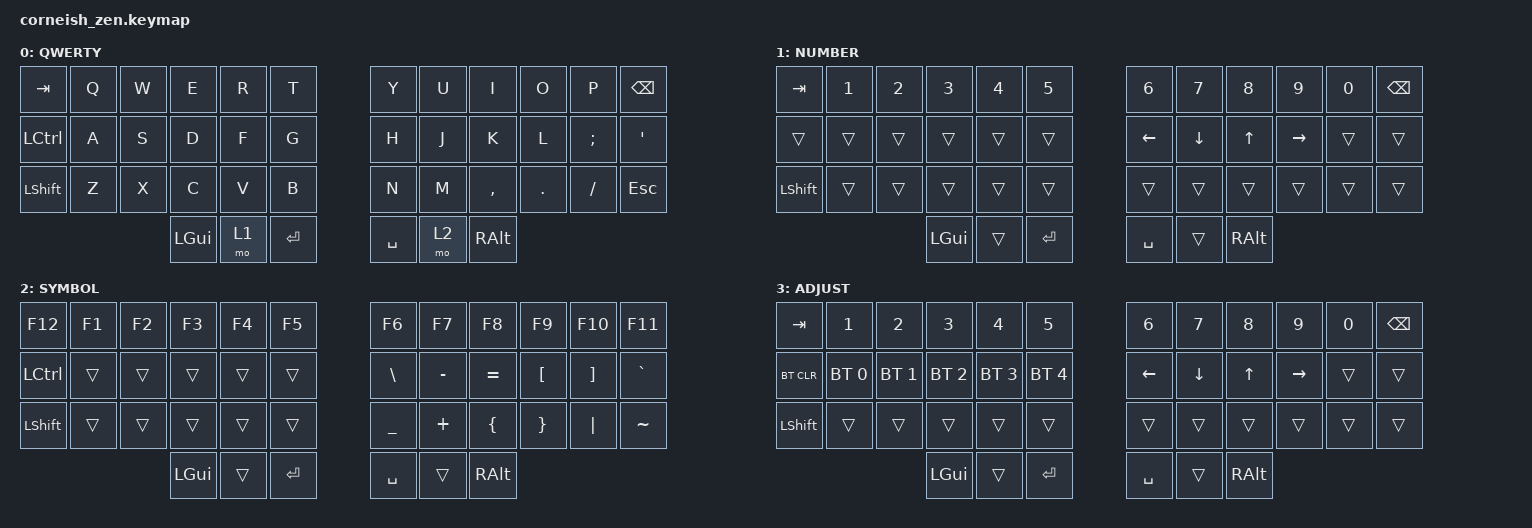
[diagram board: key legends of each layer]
#include <behaviors.dtsi>
#include <dt-bindings/zmk/keys.h>
#include <dt-bindings/zmk/bt.h>

/ {
  chosen {
    zmk,matrix_transform = &default_transform;
    //zmk,matrix_transform = &five_column_transform;
  };
};

/ {
    conditional_layers {
        compatible = "zmk,conditional-layers";
        tri_layer {
            if-layers = <1 2>;
            then-layer = <3>;
        };
    };
};

/ {
        keymap {
                compatible = "zmk,keymap";

                default_layer {
                        label = "QWERTY";
// -----------------------------------------------------------------------------------------
// |  TAB |  Q  |  W  |  E  |  R  |  T  |   |  Y  |  U   |  I  |  O  |  P  | BKSP |
// | CTRL |  A  |  S  |  D  |  F  |  G  |   |  H  |  J   |  K  |  L  |  ;  |  '   |
// | SHFT |  Z  |  X  |  C  |  V  |  B  |   |  N  |  M   |  ,  |  .  |  /  | ESC  |
//                    | GUI | LWR | ENT |   | SPC | RSE  | ALT |
                        bindings = <
   &kp TAB   &kp Q &kp W &kp E &kp R &kp T   &kp Y &kp U  &kp I     &kp O   &kp P    &kp BSPC
   &kp LCTRL &kp A &kp S &kp D &kp F &kp G   &kp H &kp J  &kp K     &kp L   &kp SEMI &kp SQT
   &kp LSHFT &kp Z &kp X &kp C &kp V &kp B   &kp N &kp M  &kp COMMA &kp DOT &kp FSLH &kp ESC
                  &kp LGUI &mo 1 &kp RET     &kp SPACE &mo 2 &kp RALT
                        >;
                };
                lower_layer {
                        label = "NUMBER";
// -----------------------------------------------------------------------------------------
// |  TAB |  1  |  2  |  3  |  4  |  5  |   |  6  |  7  |  8  |  9  |  0  | BKSP |
// |      |     |     |     |     |     |   | LFT | DWN |  UP | RGT |     |      |
// | SHFT |     |     |     |     |     |   |     |     |     |     |     |      |
//                    | GUI |     | ENT |   | SPC |     | ALT |
                        bindings = <
   &kp TAB   &kp N1 &kp N2 &kp N3   &kp N4 &kp N5    &kp N6   &kp N7   &kp N8 &kp N9    &kp N0 &kp BSPC
   &trans    &trans &trans &trans   &trans &trans    &kp LEFT &kp DOWN &kp UP &kp RIGHT &trans &trans
   &kp LSHFT &trans &trans &trans   &trans &trans    &trans   &trans   &trans &trans    &trans &trans
                           &kp LGUI &trans &kp RET   &kp SPACE  &trans   &kp RALT
                        >;
                };
                raise_layer {
                        label = "SYMBOL";
// -----------------------------------------------------------------------------------------
// |  F12 |  F1 |  F2 |  F3 |  F4 |  F5 |   |  F6 |  F7 |  F8 |  F9 | F10 | F12 |
// | CTRL |     |     |     |     |     |   |  \  |  -  |  =  |  [  |  ]  |  `  |
// | SHFT |     |     |     |     |     |   |  _  |  +  |  {  |  }  | "|" |  ~  |
//                    | GUI |     | ENT |   | SPC |     | ALT |
                        bindings = <
   &kp  F12  &kp F1   &kp F2 &kp F3   &kp F4   &kp F5      &kp F6    &kp F7    &kp F8    &kp F9   &kp F10   &kp F11
   &kp LCTRL &trans   &trans &trans   &trans   &trans      &kp BSLH  &kp MINUS &kp EQUAL &kp LBKT &kp RBKT  &kp GRAVE
   &kp LSHFT &trans   &trans &trans   &trans   &trans      &kp UNDER &kp PLUS  &kp LBRC  &kp RBRC &kp PIPE  &kp TILDE
                    	       &kp LGUI &trans   &kp RET     &kp SPACE &trans    &kp RALT
                        >;
                };
                adjust_layer {
                        label = "ADJUST";
// -----------------------------------------------------------------------------------------
// |  TAB |  1  |  2  |  3  |  4  |  5  |   |  6  |  7  |  8  |  9  |  0  | BKSP |
// | BTCLR| BT1 | BT2 | BT3 | BT4 | BT5 |   | LFT | DWN |  UP | RGT |     |      |
// | SHFT |     |     |     |     |     |   |     |     |     |     |     |      |
//                    | GUI |     | ENT |   | SPC |     | ALT |
                        bindings = <
   &kp TAB    &kp N1       &kp N2       &kp N3       &kp N4       &kp N5         &kp N6   &kp N7   &kp N8 &kp N9    &kp N0 &kp BSPC
   &bt BT_CLR &bt BT_SEL 0 &bt BT_SEL 1 &bt BT_SEL 2 &bt BT_SEL 3 &bt BT_SEL 4   &kp LEFT &kp DOWN &kp UP &kp RIGHT &trans &trans
   &kp LSHFT  &trans       &trans       &trans       &trans       &trans         &trans   &trans   &trans &trans    &trans &trans
                          	        &kp LGUI     &trans       &kp RET            &kp SPACE  &trans   &kp RALT
                        >;
                };
        };
};
